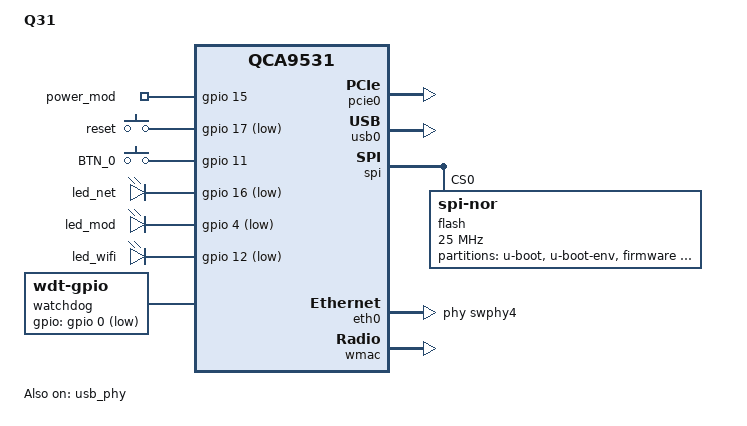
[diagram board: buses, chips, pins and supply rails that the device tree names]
// SPDX-License-Identifier: GPL-2.0-or-later OR MIT

#include "qca953x.dtsi"

#include <dt-bindings/gpio/gpio.h>
#include <dt-bindings/input/input.h>

/ {
	compatible = "iyunlink,q31", "qca,qca9531";
	model = "Q31";


	chosen {
		bootargs = "console=ttyS0,115200";
	};

	gpio_export {
		compatible = "gpio-export";
		#size-cells = <0>;

		power_mod {
			gpio-export,name = "power_mod";
			gpio-export,output = <1>;
			gpios = <&gpio 15 GPIO_ACTIVE_HIGH>;
		};

	};

	keys {
		compatible = "gpio-keys";

		pinctrl-names = "default";
		pinctrl-0 = <&jtag_disable_pins>;

		reset {
			label = "reset";
			linux,code = <KEY_RESTART>;
			gpios = <&gpio 17 GPIO_ACTIVE_LOW>;
		};

		sim_det {
			label = "BTN_0";
			gpios = <&gpio 11 GPIO_ACTIVE_HIGH>; 
			linux,code = <0x100>;
		};
	};

	leds {
		compatible = "gpio-leds";

		net_status: net {
			label = "led_net";
			gpios = <&gpio 16 GPIO_ACTIVE_LOW>;
		};
		mod_status:mod{
			label = "led_mod";
			gpios = <&gpio 4 GPIO_ACTIVE_LOW>;
		};

		wifi_status:wifi {
			gpios = <&gpio 12 GPIO_ACTIVE_LOW>;
			label = "led_wifi";
		};

	};

	watchdog {
		compatible = "linux,wdt-gpio";
		gpios = <&gpio 0 GPIO_ACTIVE_LOW>;
		hw_algo = "toggle";
		hw_margin_ms = <1300>;
		always-running;
	};
};

&pcie0 {
	status = "okay";
};

&usb0 {
	status = "okay";
};

&usb_phy {
	status = "okay";
};

&spi {
	status = "okay";

	flash@0 {
		compatible = "jedec,spi-nor";
		reg = <0>;
		spi-max-frequency = <25000000>;

		partitions {
			compatible = "fixed-partitions";
			#address-cells = <1>;
			#size-cells = <1>;

			partition@0 {
				label = "u-boot";
				reg = <0x000000 0x040000>;
				read-only;
			};

			partition@40000 {
				label = "u-boot-env";
				reg = <0x040000 0x010000>;
			};

			partition@50000 {
				compatible = "denx,uimage";
				label = "firmware";
				reg = <0x050000 0xfa0000>;
			};

			art: partition@ff0000 {
				label = "art";
				reg = <0xff0000 0x010000>;
				read-only;
			};
		};
	};
};


&eth0 {
	status = "okay";

	phy-handle = <&swphy4>;

	nvmem-cells = <&macaddr_art_0>;
	nvmem-cell-names = "mac-address";
};

&eth1 {
	nvmem-cells = <&macaddr_art_0>;
	nvmem-cell-names = "mac-address";
	mac-address-increment = <1>;
};

&wmac {
	status = "okay";

	mtd-cal-data = <&art 0x1000>;
};

&art {
	compatible = "nvmem-cells";
	#address-cells = <1>;
	#size-cells = <1>;

	macaddr_art_0: macaddr@0 {
		reg = <0x0 0x6>;
	};
};
